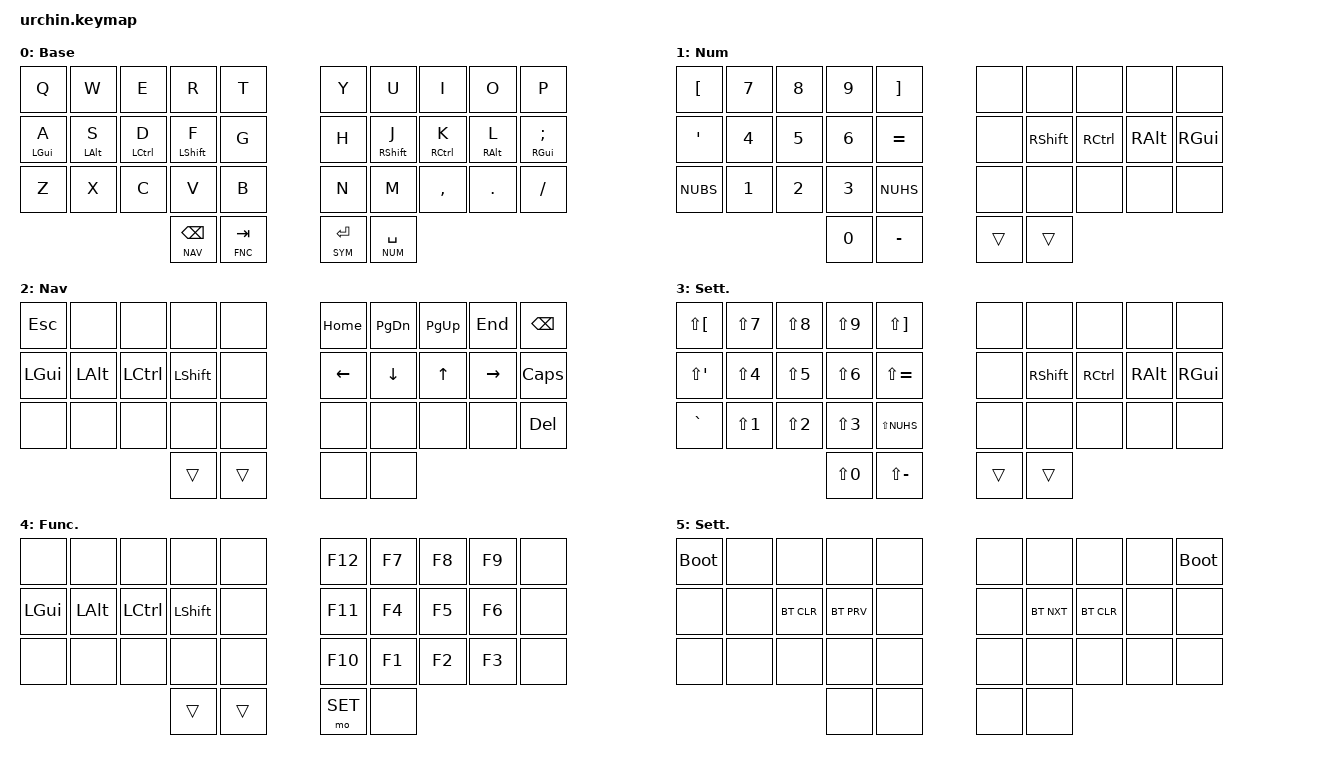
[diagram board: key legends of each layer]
/*
 * Copyright (c) 2020 duckyb
 *
 * SPDX-License-Identifier: MIT
 */

#include <behaviors.dtsi>
// #include <dt-bindings/zmk/behaviours.h>
#include <dt-bindings/zmk/keys.h>
#include <dt-bindings/zmk/bt.h>
#include <dt-bindings/zmk/outputs.h>

// Layer definitions
#define BASE 0
#define NUM 1
#define NAV 2
#define SYM 3
#define FNC 4
#define SET 5
// -----------------

&sk {
	// don't release mods on other mods presses
	ignore-modifiers;
};


/ {
	behaviors {
		// Enables holding the first mod-tap key
		// by performing a tap-release-hold sequence.
		mt: mod_tap {
			compatible = "zmk,behavior-hold-tap";
			#binding-cells = <2>;
			flavor = "balanced";
			tapping-term-ms = <200>;
			quick-tap-ms = <175>;
			bindings = <&kp>, <&kp>;
		};
	};

	keymap {
		compatible = "zmk,keymap";
		// Base alpha layer
		default_layer {
			label = "Base";
			bindings = <
			&kp Q &kp W &kp E &kp R &kp T           &kp Y &kp U  &kp I &kp O &kp P
  &mt LGUI A &mt LALT S &mt LCTRL D &mt LSHFT F &kp G		&kp H &mt RSHFT J &mt RCTRL K &mt RALT L &mt RGUI SEMI
			&kp Z &kp X &kp C &kp V &kp B           &kp N &kp M  &kp COMMA &kp DOT &kp FSLH
			     &lt NAV BSPC &lt FNC TAB		&lt SYM ENTER &lt NUM SPACE
			>;
		};

		// Numbers and high frequency symbols
		num_layer {
			label = "Num";
			bindings = <
			&kp LBKT &kp N7 &kp N8 &kp N9 &kp RBKT		&none &none &none &none &none
		       &kp APOS &kp N4 &kp N5 &kp N6 &kp EQUAL		&none &kp RSHFT &kp RCTRL &kp RALT &kp RGUI
			&kp NUBS &kp N1 &kp N2 &kp N3 &kp NUHS		&none &none &none &none &none
					     &kp N0  &kp MINUS		&trans &trans
			>;
		};

		// Arrow keys and navigation
		nav_layer {
			label = "Nav";
			bindings = <
		     &kp ESC  &none &none &none &none		&kp HOME &kp PG_DN  &kp PG_UP &kp END &kp BSPC
	 &kp LGUI &kp LALT &kp LCTRL &kp LSHFT  &none		&kp LEFT &kp DOWN   &kp UP &kp RIGHT  &kp CAPS
			&none &none &none &none &none		&none &none &none &none &kp DEL
					&trans &trans		&none  &none
			>;
		};

		// Shifted symbols, with some differences for low-frequency.
		symbol_layer {
			label = "Sett.";
			bindings = <
	    &kp LS(LBKT) &kp LS(N7) &kp LS(N8) &kp LS(N9) &kp LS(RBKT)		&none &none &none &none &none
	   &kp LS(APOS) &kp LS(N4) &kp LS(N5) &kp LS(N6) &kp LS(EQUAL)		&none &kp RSHFT &kp RCTRL &kp RALT &kp RGUI
	       &kp GRAVE &kp LS(N1) &kp LS(N2) &kp LS(N3) &kp LS(NUHS)		&none &none &none &none &none
					     &kp LS(N0)  &kp LS(MINUS)		&trans &trans
			>;
		};

		// Function keys. Note some spare space for utilities.
		fnc_layer {
			label = "Func.";
			bindings = <
			&none &none &none &none &none		&kp F12 &kp F7 &kp F8 &kp F9 &none
	 &kp LGUI &kp LALT &kp LCTRL &kp LSHFT  &none		&kp F11 &kp F4 &kp F5 &kp F6 &none
			&none &none &none &none &none		&kp F10 &kp F1 &kp F2 &kp F3 &none
					&trans &trans		&mo SET &none
			>;
		};

		// Used to change the keyboard's settings. Activated w second thumb on L then R.
		settings_layer {
			label = "Sett.";
			bindings = <
			    &bootloader &none &none &none &none		&none &none &none &none &bootloader
			&none &none &bt BT_CLR &bt BT_PRV &none		&none &bt BT_NXT &bt BT_CLR &none &none
				  &none &none &none &none &none		&none &none &none &none &none
						    &none &none		&none &none 
			>;
		};
	};
};
